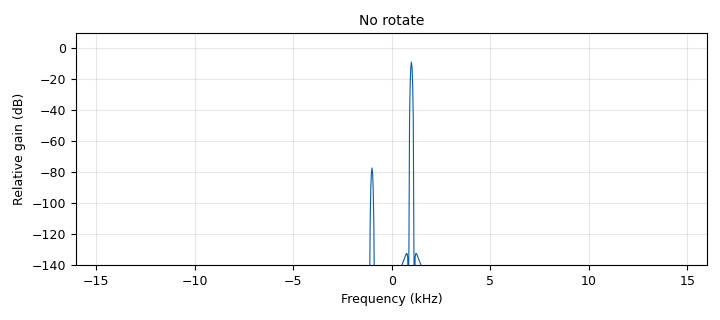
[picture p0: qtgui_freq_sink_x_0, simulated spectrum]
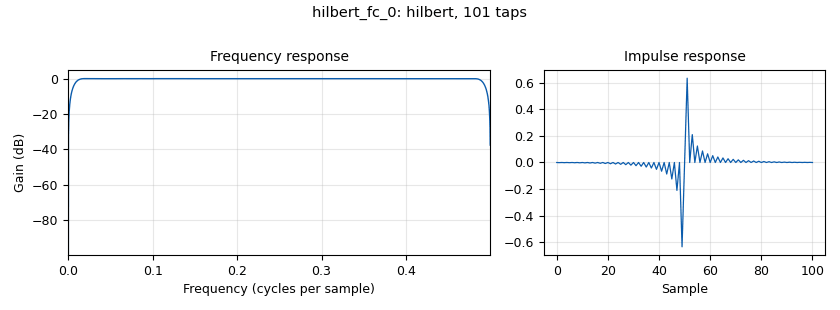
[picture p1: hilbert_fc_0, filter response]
<?xml version='1.0' encoding='utf-8'?>
<?grc format='1' created='3.7.9'?>
<flow_graph>
<block>
<key>options</key>
<param><key>id</key><value>PhaseRotate</value></param>
<param><key>category</key><value>Custom</value></param>
<param><key>generate_options</key><value>qt_gui</value></param>
</block>
<block>
<key>variable_qtgui_range</key>
<param><key>id</key><value>phaseRotate</value></param>
<param><key>value</key><value>3.1415926*0.25</value></param>
<param><key>label</key><value>phase rotate</value></param>
<param><key>orient</key><value>Qt.Horizontal</value></param>
<param><key>start</key><value>0</value></param>
<param><key>step</key><value>3.1415926*0.01</value></param>
<param><key>stop</key><value>3.1415926*2</value></param>
</block>
<block>
<key>variable</key>
<param><key>id</key><value>samp_rate</value></param>
<param><key>value</key><value>32000</value></param>
</block>
<block>
<key>SyncSignalMod_PhaseRotator_py_cc</key>
<param><key>id</key><value>SyncSignalMod_PhaseRotator_py_cc_0</value></param>
<param><key>phaseIncrease</key><value>phaseRotate</value></param>
</block>
<block>
<key>analog_sig_source_x</key>
<param><key>id</key><value>analog_sig_source_x_0</value></param>
<param><key>amp</key><value>1</value></param>
<param><key>freq</key><value>1000</value></param>
<param><key>offset</key><value>0</value></param>
<param><key>type</key><value>float</value></param>
<param><key>samp_rate</key><value>samp_rate</value></param>
<param><key>waveform</key><value>analog.GR_COS_WAVE</value></param>
</block>
<block>
<key>analog_sig_source_x</key>
<param><key>id</key><value>analog_sig_source_x_0_0</value></param>
<param><key>amp</key><value>1</value></param>
<param><key>freq</key><value>1000</value></param>
<param><key>offset</key><value>0</value></param>
<param><key>type</key><value>float</value></param>
<param><key>samp_rate</key><value>samp_rate</value></param>
<param><key>waveform</key><value>analog.GR_COS_WAVE</value></param>
</block>
<block>
<key>blocks_add_xx</key>
<param><key>id</key><value>blocks_add_xx_0</value></param>
<param><key>type</key><value>float</value></param>
</block>
<block>
<key>blocks_complex_to_arg</key>
<param><key>id</key><value>blocks_complex_to_arg_0</value></param>
</block>
<block>
<key>blocks_complex_to_arg</key>
<param><key>id</key><value>blocks_complex_to_arg_0_0</value></param>
</block>
<block>
<key>blocks_multiply_const_vxx</key>
<param><key>id</key><value>blocks_multiply_const_vxx_0</value></param>
<param><key>const</key><value>-1</value></param>
<param><key>type</key><value>float</value></param>
</block>
<block>
<key>blocks_throttle</key>
<param><key>id</key><value>blocks_throttle_0</value></param>
<param><key>samples_per_second</key><value>samp_rate</value></param>
<param><key>type</key><value>float</value></param>
</block>
<block>
<key>hilbert_fc</key>
<param><key>id</key><value>hilbert_fc_0</value></param>
<param><key>num_taps</key><value>100</value></param>
<param><key>win</key><value>firdes.WIN_HAMMING</value></param>
</block>
<block>
<key>hilbert_fc</key>
<param><key>id</key><value>hilbert_fc_0_0</value></param>
<param><key>num_taps</key><value>100</value></param>
<param><key>win</key><value>firdes.WIN_HAMMING</value></param>
</block>
<block>
<key>qtgui_freq_sink_x</key>
<param><key>id</key><value>qtgui_freq_sink_x_0</value></param>
<param><key>bw</key><value>samp_rate</value></param>
<param><key>fc</key><value>0</value></param>
<param><key>fftsize</key><value>1024</value></param>
<param><key>gui_hint</key><value>tab@1</value></param>
<param><key>name</key><value>"No rotate"</value></param>
<param><key>showports</key><value>True</value></param>
<param><key>type</key><value>complex</value></param>
<param><key>wintype</key><value>firdes.WIN_BLACKMAN_hARRIS</value></param>
</block>
<block>
<key>qtgui_freq_sink_x</key>
<param><key>id</key><value>qtgui_freq_sink_x_0_0</value></param>
<param><key>bw</key><value>samp_rate</value></param>
<param><key>fc</key><value>0</value></param>
<param><key>fftsize</key><value>1024</value></param>
<param><key>gui_hint</key><value>tab@1</value></param>
<param><key>name</key><value>"rotate"</value></param>
<param><key>showports</key><value>True</value></param>
<param><key>type</key><value>complex</value></param>
<param><key>wintype</key><value>firdes.WIN_BLACKMAN_hARRIS</value></param>
</block>
<block>
<key>qtgui_freq_sink_x</key>
<param><key>id</key><value>qtgui_freq_sink_x_1</value></param>
<param><key>bw</key><value>samp_rate</value></param>
<param><key>fc</key><value>0</value></param>
<param><key>fftsize</key><value>1024</value></param>
<param><key>showports</key><value>True</value></param>
<param><key>type</key><value>float</value></param>
<param><key>wintype</key><value>firdes.WIN_BLACKMAN_hARRIS</value></param>
</block>
<block>
<key>qtgui_time_sink_x</key>
<param><key>id</key><value>qtgui_time_sink_x_0</value></param>
<param><key>gui_hint</key><value>tab@0</value></param>
<param><key>color1</key><value>"blue"</value></param>
<param><key>label1</key><value></value></param>
<param><key>size</key><value>1024</value></param>
<param><key>srate</key><value>samp_rate</value></param>
<param><key>type</key><value>float</value></param>
</block>
<block>
<key>qtgui_tab_widget</key>
<param><key>id</key><value>tab</value></param>
<param><key>label0</key><value>phase difference</value></param>
<param><key>label1</key><value>FFT</value></param>
<param><key>num_tabs</key><value>2</value></param>
</block>
<connection><source_block_id>SyncSignalMod_PhaseRotator_py_cc_0</source_block_id><sink_block_id>blocks_complex_to_arg_0_0</sink_block_id><source_key>0</source_key><sink_key>0</sink_key></connection>
<connection><source_block_id>SyncSignalMod_PhaseRotator_py_cc_0</source_block_id><sink_block_id>qtgui_freq_sink_x_0_0</sink_block_id><source_key>0</source_key><sink_key>0</sink_key></connection>
<connection><source_block_id>analog_sig_source_x_0</source_block_id><sink_block_id>hilbert_fc_0</sink_block_id><source_key>0</source_key><sink_key>0</sink_key></connection>
<connection><source_block_id>analog_sig_source_x_0_0</source_block_id><sink_block_id>hilbert_fc_0_0</sink_block_id><source_key>0</source_key><sink_key>0</sink_key></connection>
<connection><source_block_id>blocks_add_xx_0</source_block_id><sink_block_id>blocks_throttle_0</sink_block_id><source_key>0</source_key><sink_key>0</sink_key></connection>
<connection><source_block_id>blocks_complex_to_arg_0</source_block_id><sink_block_id>blocks_add_xx_0</sink_block_id><source_key>0</source_key><sink_key>0</sink_key></connection>
<connection><source_block_id>blocks_complex_to_arg_0_0</source_block_id><sink_block_id>blocks_multiply_const_vxx_0</sink_block_id><source_key>0</source_key><sink_key>0</sink_key></connection>
<connection><source_block_id>blocks_multiply_const_vxx_0</source_block_id><sink_block_id>blocks_add_xx_0</sink_block_id><source_key>0</source_key><sink_key>1</sink_key></connection>
<connection><source_block_id>blocks_throttle_0</source_block_id><sink_block_id>qtgui_freq_sink_x_1</sink_block_id><source_key>0</source_key><sink_key>0</sink_key></connection>
<connection><source_block_id>blocks_throttle_0</source_block_id><sink_block_id>qtgui_time_sink_x_0</sink_block_id><source_key>0</source_key><sink_key>0</sink_key></connection>
<connection><source_block_id>hilbert_fc_0</source_block_id><sink_block_id>blocks_complex_to_arg_0</sink_block_id><source_key>0</source_key><sink_key>0</sink_key></connection>
<connection><source_block_id>hilbert_fc_0</source_block_id><sink_block_id>qtgui_freq_sink_x_0</sink_block_id><source_key>0</source_key><sink_key>0</sink_key></connection>
<connection><source_block_id>hilbert_fc_0_0</source_block_id><sink_block_id>SyncSignalMod_PhaseRotator_py_cc_0</sink_block_id><source_key>0</source_key><sink_key>0</sink_key></connection>
</flow_graph>
